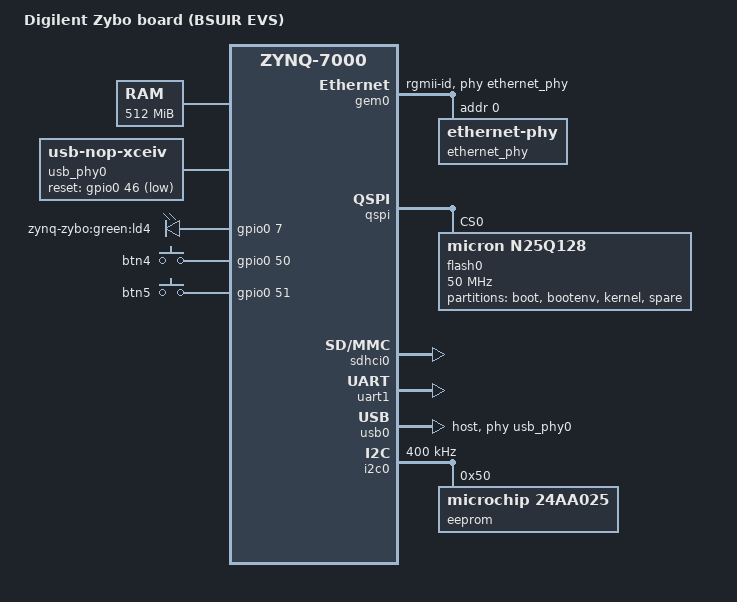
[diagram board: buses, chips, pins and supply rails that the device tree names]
#include <dt-bindings/gpio/gpio.h>

/include/ "system-conf.dtsi"
/ {
	model = "Digilent Zybo board (BSUIR EVS)";
	compatible = "digilent,zynq-zybo", "xlnx,zynq-7000";

	aliases {
		ethernet0 = &gem0;
		serial0 = &uart1;
		spi0 = &qspi;
		mmc0 = &sdhci0;
		nvmem0 = &eeprom;
	};

	memory@0 {
		device_type = "memory";
		reg = <0x0 0x20000000>;
	};

	chosen {
		bootargs = "earlycon";
		stdout-path = "serial0:115200n8";
		xlnx,eeprom = &eeprom;
	};

	usb_phy0: phy0 {
		#phy-cells = <0>;
		compatible = "usb-nop-xceiv";
		reset-gpios = <&gpio0 46 1>;
	};
	
	gpio-leds {
		compatible = "gpio-leds";

		led-ld4 {
			label = "zynq-zybo:green:ld4";
			gpios = <&gpio0 7 GPIO_ACTIVE_HIGH>;
			linux,default-trigger = "heartbeat";
		};
	};

	gpio-keys {
		compatible = "gpio-keys";
		#address-cells = <1>;
		#size-cells = <0>;
		autorepeat;
		btn4 {
			label = "btn4";
			gpios = <&gpio0 50 0>;
			linux,code = <108>; /* down */
			gpio-key,wakeup;
			autorepeat;
		};
		btn5 {
			label = "btn5";
			gpios = <&gpio0 51 0>;
			linux,code = <103>; /* up */
			gpio-key,wakeup;
			autorepeat;
		};
	};

};

&clkc {
	ps-clk-frequency = <50000000>;
};

&gem0 {
	status = "okay";
	phy-mode = "rgmii-id";
	phy-handle = <&ethernet_phy>;
	
	nvmem-cells = <&eth0_addr>;
   	nvmem-cell-names = "mac-address";

	ethernet_phy: ethernet-phy@0 {
		reg = <0>;
		device_type = "ethernet-phy";
	};
};

&qspi {
	#address-cells = <1>;
	#size-cells = <0>;
	u-boot,dm-pre-reloc;
	status = "okay";
	flash0: flash@0 {
		compatible = "micron,n25q128";
		reg = <0x0>;
		#address-cells = <1>;
		#size-cells = <1>;
		spi-max-frequency = <50000000>;
		partition@0x00000000 {
			label = "boot";
			reg = <0x00000000 0x00300000>;
		};
		partition@0x00300000 {
			label = "bootenv";
			reg = <0x00300000 0x00020000>;
		};
		partition@0x00320000 {
			label = "kernel";
			reg = <0x00320000 0x00a80000>;
		};
		partition@0x00da0000 {
			label = "spare";
			reg = <0x00da0000 0x00000000>;
		};
	};
};

&sdhci0 {
	u-boot,dm-pre-reloc;
	status = "okay";
};

&uart1 {
	u-boot,dm-pre-reloc;
	status = "okay";
};

&usb0 {
	status = "okay";
	dr_mode = "host";
	usb-phy = <&usb_phy0>;
};

&i2c0 {
	status = "okay";
	clock-frequency = <400000>;

	eeprom: eeprom@50 {
		compatible = "microchip,24aa025", "atmel,24c02";
		u-boot,dm-pre-reloc;
		reg = <0x50>;
	};
};

&eeprom {
	eth0_addr: eth-mac-addr@FA {
		reg = <0xFA 0x06>;
	};
};
